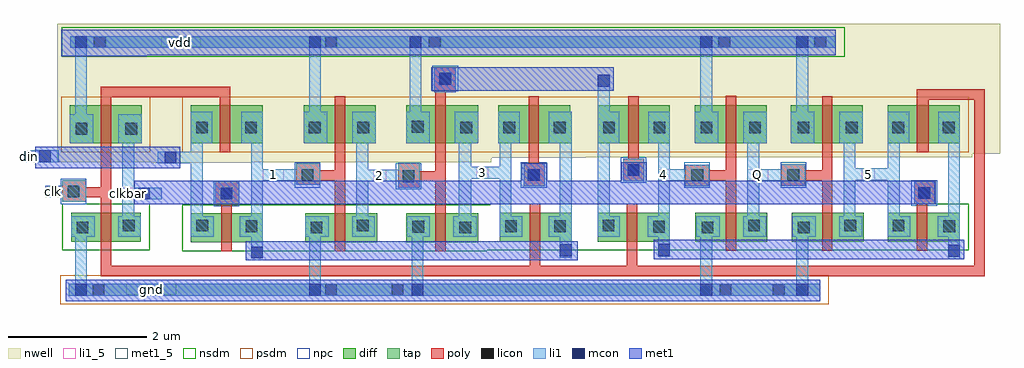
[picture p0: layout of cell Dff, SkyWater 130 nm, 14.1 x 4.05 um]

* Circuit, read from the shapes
.subckt Dff 1 2 3 4 5 Q clk clkbar din gnd vdd
XM1 clkbar clk gnd gnd sky130_fd_pr__nfet_01v8 w=0.42 l=0.15
XM2 1 clkbar din gnd sky130_fd_pr__nfet_01v8 w=0.42 l=0.15
XM3 2 1 gnd gnd sky130_fd_pr__nfet_01v8 w=0.42 l=0.15
XM4 3 2 gnd gnd sky130_fd_pr__nfet_01v8 w=0.42 l=0.15
XM5 1 clk 3 gnd sky130_fd_pr__nfet_01v8 w=0.42 l=0.15
XM6 4 clk 2 gnd sky130_fd_pr__nfet_01v8 w=0.42 l=0.15
XM7 Q 4 gnd gnd sky130_fd_pr__nfet_01v8 w=0.42 l=0.15
XM8 5 Q gnd gnd sky130_fd_pr__nfet_01v8 w=0.42 l=0.15
XM9 4 clkbar 5 gnd sky130_fd_pr__nfet_01v8 w=0.42 l=0.15
XM10 clkbar clk vdd vdd sky130_fd_pr__pfet_01v8 w=0.55 l=0.15
XM11 1 clk din vdd sky130_fd_pr__pfet_01v8 w=0.55 l=0.15
XM12 2 1 vdd vdd sky130_fd_pr__pfet_01v8 w=0.55 l=0.15
XM13 3 2 vdd vdd sky130_fd_pr__pfet_01v8 w=0.55 l=0.15
XM14 1 clkbar 3 vdd sky130_fd_pr__pfet_01v8 w=0.55 l=0.15
XM15 4 clkbar 2 vdd sky130_fd_pr__pfet_01v8 w=0.55 l=0.15
XM16 Q 4 vdd vdd sky130_fd_pr__pfet_01v8 w=0.55 l=0.15
XM17 5 Q vdd vdd sky130_fd_pr__pfet_01v8 w=0.55 l=0.15
XM18 4 clk 5 vdd sky130_fd_pr__pfet_01v8 w=0.55 l=0.17
.ends

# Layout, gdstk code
import gdstk
lib = gdstk.Library(unit=1e-6, precision=1e-09)
def R(c, l, rs):  # rectangles x0, y0, x1, y1
    for r in rs: c.add(gdstk.rectangle(r[:2], r[2:], *l))
def A(c, l, x, y, w, h, nx, ny, dx, dy):  # array of equal rectangles
    R(c, l, [(x+i*dx, y+j*dy, x+i*dx+w, y+j*dy+h) for i in range(nx) for j in range(ny)])
nwell = (64, 20)
diff = (65, 20)
tap = (65, 44)
poly = (66, 20)
licon = (66, 44)
li1_5 = (67, 5)
li1 = (67, 20)
mcon = (67, 44)
met1_5 = (68, 5)
met1 = (68, 20)
nsdm = (93, 44)
psdm = (94, 20)
npc = (95, 20)

dff = lib.new_cell('Dff')
R(dff, nwell, [(-5.54,0.85,-4.11,0.86), (-6.91,0.86,-0.64,0.91), (-6.91,0.91,-0.63,0.92), (-6.91,0.92,0.72,0.93), (-6.91,0.93,6.31,0.98), (-6.91,0.98,6.71,2.86)])
A(dff, diff, 2.31, -0.29, 1.04, 0.42, 3, 1, 1.39, 0)
R(dff, diff, [(-4.98,-0.3,-3.94,0.12), (-3.33,-0.3,-2.29,0.12), (-1.87,-0.3,-0.83,0.12), (-6.71,-0.29,-5.7,0.13), (-0.52,-0.29,0.52,0.13), (0.9,-0.29,1.94,0.13), (-6.73,1.13,-5.69,1.68), (-4.98,1.13,-3.94,1.68), (-3.35,1.13,-2.31,1.68), (-1.87,1.13,-0.83,1.68), (-0.54,1.13,0.52,1.59), (0.9,1.13,1.94,1.68), (2.3,1.13,3.34,1.68), (3.69,1.13,4.73,1.68), (5.09,1.13,6.13,1.68), (-0.54,1.59,0.5,1.68)])
R(dff, tap, [(-6.74,-1.07,4.11,-0.9), (-6.72,2.51,4.34,2.68)])
R(dff, poly, [(-6.28,-0.79,6.49,-0.64), (-6.28,-0.64,-6.13,0.35), (-0.08,-0.64,0.07,0.26), (1.32,-0.64,1.47,0.26), (6.34,-0.64,6.49,1.76), (-4.54,-0.43,-4.39,0.25), (-2.9,-0.43,-2.75,0.59), (-1.45,-0.43,-1.3,0.58), (2.75,-0.42,2.9,0.59), (4.14,-0.42,4.29,0.59), (5.51,-0.42,5.66,0.25), (-4.63,0.25,-4.28,0.58), (5.47,0.25,5.77,0.58), (-6.84,0.29,-6.49,0.35), (-6.84,0.35,-6.13,0.5), (-1.98,0.49,-1.67,0.58), (-6.84,0.5,-6.49,0.6), (-6.28,0.5,-6.13,1.8), (-0.17,0.51,0.13,0.84), (2.16,0.51,2.51,0.59), (3.55,0.52,3.9,0.59), (-3.46,0.53,-3.11,0.59), (-1.98,0.58,-1.3,0.73), (1.27,0.58,1.57,0.91), (-3.46,0.59,-2.75,0.74), (2.16,0.59,2.9,0.74), (3.55,0.59,4.29,0.74), (-1.98,0.73,-1.67,0.85), (-1.45,0.73,-1.3,1.87), (-3.46,0.74,-3.11,0.84), (-2.9,0.74,-2.75,1.81), (2.16,0.74,2.51,0.82), (2.75,0.74,2.9,1.82), (3.55,0.74,3.9,0.83), (4.14,0.74,4.29,1.81), (-0.1,0.84,0.05,1.81), (1.34,0.91,1.49,1.81), (-4.56,1,-4.41,1.8), (5.51,1,5.68,1.76), (5.51,1.76,6.49,1.91), (-6.28,1.8,-4.41,1.95), (-1.46,1.87,-1.15,2.23)])
A(dff, licon, 2.385, 1.275, 0.17, 0.17, 4, 1, 0.7, 0)
R(dff, licon, [(-6.4,-1.07,-6.23,-0.9), (-3.04,-1.07,-2.87,-0.9), (-2.08,-1.07,-1.91,-0.9), (2.66,-1.07,2.83,-0.9), (3.43,-1.07,3.6,-0.9), (-6.63,-0.17,-6.46,0), (-3.25,-0.17,-3.08,0), (-1.1,-0.17,-0.93,0), (2.4,-0.17,2.57,0), (3.79,-0.17,3.96,0), (-1.78,-0.16,-1.61,0.01), (1.7,-0.16,1.87,0.01), (-4.19,-0.15,-4.02,0.02), (-0.44,-0.15,-0.27,0.02), (0.27,-0.15,0.44,0.02), (5.89,-0.15,6.06,0.02), (-5.96,-0.14,-5.79,0.03), (-4.9,-0.14,-4.73,0.03), (-2.58,-0.14,-2.41,0.03), (0.97,-0.14,1.14,0.03), (3.07,-0.14,3.24,0.03), (4.46,-0.14,4.63,0.03), (5.16,-0.14,5.33,0.03), (-4.55,0.32,-4.38,0.49), (5.53,0.33,5.7,0.5), (-6.76,0.35,-6.59,0.52), (-1.92,0.57,-1.75,0.74), (-3.38,0.59,-3.21,0.76), (-0.11,0.59,0.06,0.76), (2.25,0.59,2.42,0.76), (3.64,0.59,3.81,0.76), (1.33,0.66,1.5,0.83), (-6.645,1.255,-6.475,1.425), (-5.925,1.255,-5.755,1.425), (-4.905,1.275,-4.735,1.445), (-4.195,1.275,-4.025,1.445), (-3.275,1.275,-3.105,1.445), (-2.575,1.275,-2.405,1.445), (-1.085,1.275,-0.915,1.445), (-0.465,1.275,-0.295,1.445), (0.265,1.275,0.435,1.445), (0.975,1.275,1.145,1.445), (1.705,1.275,1.875,1.445), (5.155,1.275,5.325,1.445), (5.885,1.275,6.055,1.445), (-1.785,1.285,-1.615,1.455), (-1.39,1.98,-1.22,2.15), (-6.38,2.51,-6.21,2.68), (-3.04,2.51,-2.87,2.68), (-1.54,2.51,-1.37,2.68), (2.64,2.51,2.81,2.68), (4.03,2.51,4.2,2.68)])
R(dff, li1_5, [(-5.97,0.32,-5.79,0.49), (-7.07,0.36,-6.85,0.51), (-2.34,0.58,-2.16,0.75), (-3.94,0.59,-3.64,0.76), (1.77,0.59,1.94,0.76), (3.06,0.59,3.36,0.76), (4.71,0.6,4.9,0.77), (-0.85,0.62,-0.68,0.79), (-7.38,0.87,-7.24,1.02)])
R(dff, li1, [(-6.74,-1.07,4.11,-0.9), (-6.65,-0.9,-6.48,-0.22), (-3.27,-0.9,-3.1,-0.22), (-1.79,-0.9,-1.62,-0.22), (2.38,-0.9,2.55,-0.22), (3.77,-0.9,3.94,-0.22), (5.96,-0.54,6.13,-0.22), (-4.11,-0.53,-3.94,-0.22), (0.35,-0.52,0.52,-0.22), (1.77,-0.51,1.94,-0.22), (-6.71,-0.22,-6.37,0.08), (-6.03,-0.22,-5.7,0.08), (-4.98,-0.22,-4.65,0.08), (-4.27,-0.22,-3.94,0.08), (-3.33,-0.22,-2.99,0.08), (-2.65,-0.22,-2.32,0.08), (-1.86,-0.22,-1.53,0.08), (-1.19,-0.22,-0.85,0.08), (-0.52,-0.22,-0.19,0.08), (0.19,-0.22,0.52,0.08), (0.9,-0.22,1.22,0.08), (1.62,-0.22,1.94,0.08), (2.32,-0.22,2.66,0.08), (3,-0.22,3.33,0.08), (3.71,-0.22,4.05,0.08), (4.39,-0.22,4.72,0.08), (5.09,-0.22,5.41,0.08), (5.81,-0.22,6.13,0.08), (-5.97,0.08,-5.8,0.32), (-4.98,0.08,-4.81,0.84), (-4.11,0.08,-3.94,0.59), (-2.59,0.08,-2.42,0.58), (-1.11,0.08,-0.93,0.62), (-0.52,0.08,-0.35,0.62), (0.35,0.08,0.52,1.13), (0.9,0.08,1.07,1.13), (1.77,0.08,1.94,0.59), (3.06,0.08,3.23,0.59), (4.45,0.08,4.62,0.6), (5.09,0.08,5.26,0.6), (5.96,0.08,6.13,1.13), (-4.63,0.25,-4.28,0.58), (5.47,0.25,5.77,0.58), (-6.84,0.29,-6.49,0.35), (-5.97,0.32,-5.4,0.49), (-7.08,0.35,-6.49,0.52), (-5.97,0.49,-5.8,1.13), (-1.98,0.49,-1.67,0.58), (-0.17,0.51,0.13,0.84), (2.16,0.51,2.51,0.59), (-6.84,0.52,-6.49,0.6), (3.55,0.52,3.9,0.59), (-3.46,0.53,-3.11,0.59), (-2.59,0.58,-1.67,0.75), (1.27,0.58,1.57,0.91), (-4.11,0.59,-3.11,0.76), (1.77,0.59,2.51,0.76), (3.06,0.59,3.9,0.76), (4.45,0.6,5.26,0.77), (-1.11,0.62,-0.35,0.79), (-2.59,0.75,-2.42,1.13), (-1.98,0.75,-1.67,0.85), (-4.11,0.76,-3.94,1.13), (-3.46,0.76,-3.11,0.84), (1.77,0.76,1.94,1.13), (2.16,0.76,2.51,0.82), (3.06,0.76,3.23,1.13), (3.55,0.76,3.9,0.83), (4.45,0.77,4.62,1.13), (5.09,0.77,5.26,1.13), (-1.11,0.79,-0.93,1.13), (-0.52,0.79,-0.35,1.13), (-5.46,0.84,-4.81,1.01), (-7.39,0.86,-6.89,1.03), (-4.98,1.01,-4.81,1.13), (-6.73,1.13,-6.39,1.55), (-6.03,1.13,-5.69,1.55), (-4.98,1.13,-4.67,1.59), (-4.25,1.13,-3.94,1.59), (-3.35,1.13,-3.01,1.59), (-2.65,1.13,-2.31,1.59), (-1.87,1.13,-1.53,1.59), (-1.17,1.13,-0.83,1.59), (-0.54,1.13,-0.23,1.59), (0.19,1.13,0.52,1.59), (0.9,1.13,1.21,1.59), (1.63,1.13,1.94,1.59), (2.3,1.13,2.64,1.59), (3,1.13,3.34,1.59), (3.69,1.13,4.03,1.59), (4.39,1.13,4.73,1.59), (5.09,1.13,5.4,1.59), (5.82,1.13,6.13,1.59), (-6.65,1.55,-6.48,2.51), (-3.27,1.59,-3.1,2.51), (-1.82,1.59,-1.65,2.51), (0.9,1.59,1.07,2.12), (2.38,1.59,2.55,2.51), (3.77,1.59,3.94,2.51), (-1.46,1.87,-1.15,2.23), (-6.72,2.51,4.34,2.68)])
R(dff, mcon, [(-6.65,-1.07,-6.48,-0.9), (-3.27,-1.07,-3.1,-0.9), (-1.79,-1.07,-1.62,-0.9), (2.38,-1.07,2.55,-0.9), (3.77,-1.07,3.94,-0.9), (-4.11,-0.53,-3.94,-0.36), (5.96,-0.505,6.13,-0.335), (0.35,-0.5,0.52,-0.33), (1.77,-0.49,1.94,-0.32), (-5.74,0.32,-5.57,0.49), (-4.55,0.32,-4.38,0.49), (5.53,0.33,5.7,0.5), (-0.11,0.59,0.06,0.76), (1.33,0.66,1.5,0.83), (-5.36,0.84,-5.19,1.01), (-7.17,0.86,-7,1.03), (0.9,1.95,1.07,2.12), (-1.39,1.98,-1.22,2.15), (-6.65,2.51,-6.48,2.68), (-3.27,2.51,-3.1,2.68), (-1.82,2.51,-1.65,2.68), (2.38,2.51,2.55,2.68), (3.77,2.51,3.94,2.68)])
R(dff, met1_5, [(-5.91,-1.06,-5.19,-0.9), (-5.41,2.52,-4.84,2.67)])
R(dff, met1, [(-6.79,-1.15,4.11,-0.84), (-4.19,-0.56,0.61,-0.28), (1.71,-0.54,6.19,-0.26), (-5.8,0.25,5.78,0.59), (-0.2,0.59,0.17,0.84), (1.24,0.59,1.61,0.86), (-7.23,0.77,-5.13,1.08), (-1.51,1.89,1.13,2.23), (-6.85,2.39,-5.62,2.4), (-6.85,2.4,4.34,2.77)])
R(dff, nsdm, [(-5.105,-0.425,-0.705,-0.415), (-6.835,-0.415,-5.575,0.255), (-5.105,-0.415,6.255,0.245), (-0.645,0.245,6.255,0.255), (-6.845,2.385,4.465,2.805)])
R(dff, psdm, [(-6.865,-1.195,4.235,-0.775), (-6.855,1.005,-5.565,1.805), (-5.105,1.005,6.255,1.805)])
R(dff, npc, [(-4.65,0.22,-4.28,0.59), (5.43,0.23,5.8,0.6), (-6.86,0.25,-6.49,0.62), (-2.02,0.47,-1.65,0.84), (-3.48,0.49,-3.11,0.86), (-0.21,0.49,0.16,0.86), (2.15,0.49,2.52,0.86), (3.54,0.49,3.91,0.86), (1.23,0.56,1.6,0.93), (-1.49,1.88,-1.12,2.25)])
dff.add(gdstk.Label('clkbar', (-5.88,0.405), layer=67, texttype=5))
dff.add(gdstk.Label('2', (-2.25,0.665), layer=67, texttype=5))
dff.add(gdstk.Label('3', (-0.765,0.705), layer=67, texttype=5))
dff.add(gdstk.Label('4', (1.855,0.675), layer=67, texttype=5))
dff.add(gdstk.Label('5', (4.805,0.685), layer=67, texttype=5))
dff.add(gdstk.Label('vdd', (-5.125,2.595), layer=68, texttype=5))
dff.add(gdstk.Label('gnd', (-5.55,-0.98), layer=68, texttype=5))
dff.add(gdstk.Label('din', (-7.31,0.945), layer=67, texttype=5))
dff.add(gdstk.Label('Q', (3.21,0.675), layer=67, texttype=5))
dff.add(gdstk.Label('clk', (-6.96,0.435), layer=67, texttype=5))
dff.add(gdstk.Label('1', (-3.79,0.675), layer=67, texttype=5))

lib.write_gds('Dff.gds')
